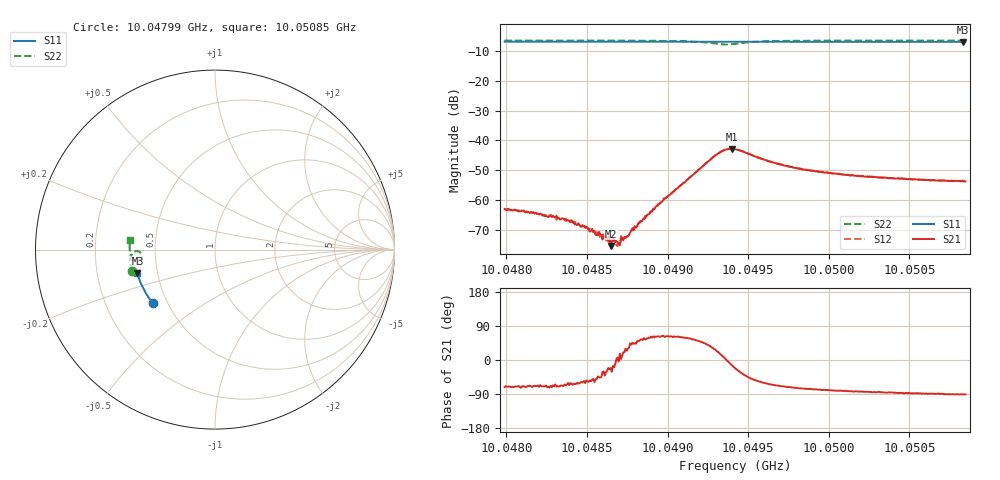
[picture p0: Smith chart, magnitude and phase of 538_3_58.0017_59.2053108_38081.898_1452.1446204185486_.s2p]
#  HZ  S  RI  R  50.00
! Rohde & Schwarz Vector Network Analyzer
! Rohde-Schwarz,ZNB20-2Port,1311601062101988,3.16
! Created: UTC 3/21/2024, 1:14:23 AM
! freq[Hz]  re:S11  im:S11  re:S21  im:S21  re:S12  im:S12  re:S22  im:S22
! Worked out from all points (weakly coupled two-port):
!   401 points, 10.04799 GHz to 10.05085 GHz, reference 50 ohm
!   highest |S21| = -42.86 dB at 10.0494 GHz (marker M1); lowest = -75.5 dB at 10.04865 GHz (marker M2)
!   lowest |S11| = -6.9 dB at 10.05083 GHz (marker M3), VSWR 2.65, Z = 19.2 - j6.43 ohm
!   |S11| at or under -10 dB: nowhere
!   |S22| runs from -7.8 to -6.4 dB; largest |S21 - S12| = 0.00052
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1.0047989e10  -0.3471 -0.2974  0.000225 -0.000665  0.000272 -0.000642  -0.4626 -0.1193
1.0048275e10  -0.3587 -0.2825  0.0002 -0.000494  0.000227 -0.000516  -0.4667 -0.0994
1.004836e10  -0.362 -0.2779  0.000203 -0.000427  0.000209 -0.000409  -0.4676 -0.0933
1.0048425e10  -0.3645 -0.2745  0.000171 -0.000348  0.000207 -0.000375  -0.4681 -0.0886
1.0048468e10  -0.3661 -0.2722  0.000186 -0.000303  0.000195 -0.0003  -0.4689 -0.0853
1.0048518e10  -0.368 -0.2696  0.000173 -0.000234  0.000191 -0.000267  -0.4692 -0.0816
1.0048582e10  -0.3703 -0.266  0.00018 -0.00019  0.000178 -0.000146  -0.4696 -0.0766
1.0048646e10  -0.3728 -0.2625  0.000156 -6.03e-05  0.000202 -6.51e-05  -0.4702 -0.0716
1.0048696e10  -0.3745 -0.2598  0.000183 -1.27e-05  0.00019 1.75e-05  -0.4702 -0.0674
1.0048725e10  -0.3756 -0.2581  0.000195 7.15e-05  0.000212 8.05e-05  -0.4702 -0.065
1.0048753e10  -0.3766 -0.2564  0.00021 0.000121  0.000197 0.000148  -0.4703 -0.0625
1.0048782e10  -0.3776 -0.2551  0.000235 0.000239  0.000219 0.000215  -0.4702 -0.06
1.0048946e10  -0.3833 -0.2459  0.000393 0.000752  0.000348 0.00078  -0.4688 -0.0443
1.0049296e10  -0.3942 -0.2254  0.00501 0.00251  0.00485 0.00282  -0.4237 -0.0113
1.0049354e10  -0.3957 -0.2221  0.00683 0.000606  0.00683 0.00101  -0.4085 -0.0286
1.0049396e10  -0.3969 -0.2201  0.007 -0.00166  0.00715 -0.00115  -0.4103 -0.0474
1.0049418e10  -0.3976 -0.2189  0.00659 -0.00261  0.00679 -0.00218  -0.4156 -0.0548
1.0049661e10  -0.4051 -0.205  0.0017 -0.00383  0.00196 -0.00375  -0.4651 -0.0441
1.0049897e10  -0.4116 -0.1907  0.000686 -0.003  0.000874 -0.00297  -0.4734 -0.0193
1.0050375e10  -0.4232 -0.1615  0.000188 -0.00231  0.000284 -0.00231  -0.4755 0.0193
1.0050833e10  -0.4321 -0.133  -1.83e-05 -0.00203  7.31e-05 -0.00207  -0.4731 0.0516
1.0050847e10  -0.4326 -0.1321  -2.99e-05 -0.00204  8.88e-05 -0.00206  -0.4731 0.0527
